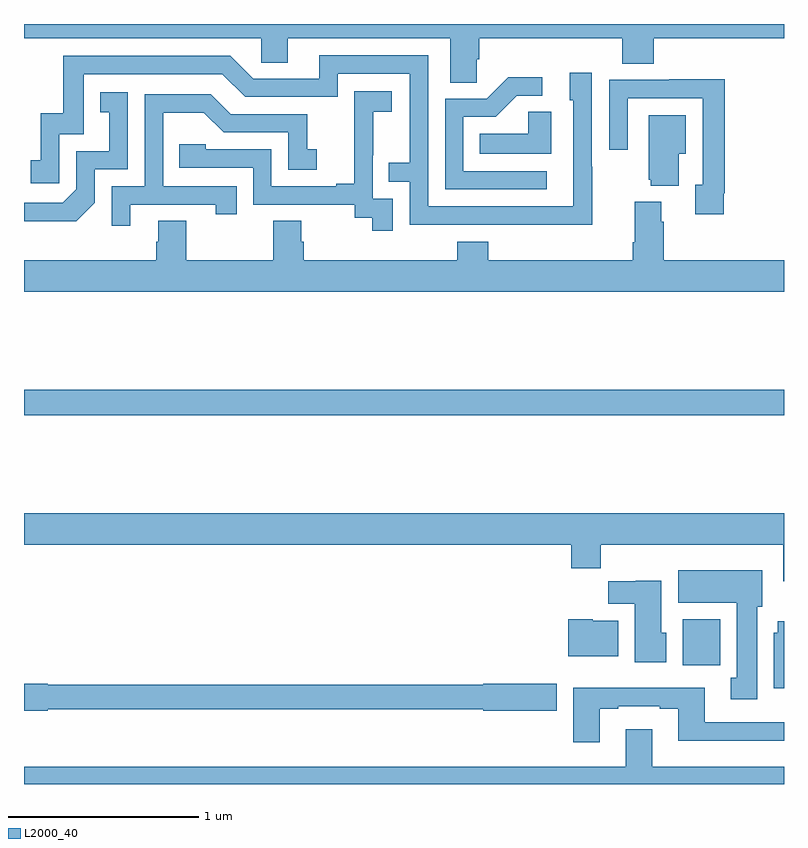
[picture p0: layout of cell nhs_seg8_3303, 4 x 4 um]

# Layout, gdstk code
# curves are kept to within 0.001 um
import gdstk
lib = gdstk.Library(unit=1e-6, precision=1e-09)
def R(c, l, rs):  # rectangles x0, y0, x1, y1
    for r in rs: c.add(gdstk.rectangle(r[:2], r[2:], *l))
def P(c, l, *ps):  # polygons
    for p in ps: c.add(gdstk.Polygon(p, *l))
L2000_40 = (2000, 40)

nhs_seg8_3303 = lib.new_cell('nhs_seg8_3303')
R(nhs_seg8_3303, L2000_40, [(318.467,1122.524,318.664,1122.766), (315,1123.84,319,1123.976)])
P(nhs_seg8_3303, L2000_40, [(317.382,1125.715),(317.396,1125.715),(317.396,1125.824),(318.149,1125.824),(318.149,1125.691),(318.314,1125.691),(318.314,1125.824),(319,1125.824),(319,1125.9),(315,1125.9),(315,1125.824),(316.248,1125.824),(316.248,1125.697),(316.387,1125.697),(316.387,1125.824),(317.243,1125.824),(317.243,1125.592),(317.382,1125.592)],
  [(317.991,1125.149),(317.988,1125.149),(317.988,1125.643),(317.873,1125.643),(317.873,1125.498),(317.892,1125.498),(317.892,1124.94),(317.127,1124.94),(317.127,1125.735),(316.553,1125.735),(316.553,1125.612),(316.206,1125.612),(316.086,1125.732),(315.207,1125.732),(315.207,1125.43),(315.089,1125.43),(315.089,1125.183),(315.036,1125.183),(315.036,1125.063),(315.186,1125.063),(315.186,1125.321),(315.315,1125.321),(315.315,1125.636),(316.044,1125.636),(316.164,1125.516),(316.65,1125.516),(316.65,1125.639),(317.031,1125.639),(317.031,1125.17),(316.921,1125.17),(316.921,1125.069),(317.031,1125.069),(317.031,1124.844),(317.991,1124.843)],
  [(317.752,1125.126),(317.313,1125.126),(317.313,1125.411),(317.482,1125.411),(317.593,1125.522),(317.728,1125.522),(317.728,1125.62),(317.549,1125.62),(317.436,1125.507),(317.217,1125.507),(317.217,1125.03),(317.752,1125.03)],
  [(318.682,1125.01),(318.689,1125.01),(318.689,1125.608),(318.397,1125.608),(318.397,1125.606),(318.081,1125.606),(318.081,1125.237),(318.177,1125.237),(318.177,1125.51),(318.573,1125.51),(318.573,1125.054),(318.533,1125.054),(318.533,1124.898),(318.682,1124.898)],
  [(316.941,1124.979),(316.836,1124.979),(316.836,1125.209),(316.838,1125.209),(316.838,1125.437),(316.936,1125.437),(316.936,1125.547),(316.738,1125.547),(316.738,1125.341),(316.739,1125.341),(316.739,1125.058),(316.643,1125.058),(316.643,1125.045),(316.302,1125.045),(316.302,1125.24),(315.957,1125.24),(315.957,1125.267),(315.817,1125.267),(315.817,1125.144),(316.206,1125.144),(316.206,1124.949),(316.74,1124.949),(316.74,1124.881),(316.833,1124.881),(316.833,1124.811),(316.941,1124.811)],
  [(315.372,1124.958),(315.372,1125.135),(315.546,1125.135),(315.546,1125.541),(315.4,1125.541),(315.4,1125.435),(315.449,1125.435),(315.449,1125.231),(315.276,1125.231),(315.276,1125.03),(315.204,1124.958),(315,1124.958),(315,1124.861),(315.274,1124.861)],
  [(315.559,1124.949),(316.01,1124.949),(316.01,1124.898),(316.121,1124.898),(316.121,1125.045),(315.732,1125.045),(315.732,1125.434),(315.946,1125.434),(316.05,1125.33),(316.392,1125.33),(316.392,1125.132),(316.54,1125.132),(316.54,1125.241),(316.491,1125.241),(316.491,1125.426),(316.087,1125.426),(315.982,1125.531),(315.636,1125.531),(315.636,1125.045),(315.462,1125.045),(315.462,1124.838),(315.559,1124.838)],
  [(317.776,1125.437),(317.655,1125.437),(317.655,1125.322),(317.398,1125.322),(317.398,1125.218),(317.776,1125.218)],
  [(318.445,1125.218),(318.484,1125.218),(318.484,1125.421),(318.287,1125.421),(318.287,1125.081),(318.299,1125.081),(318.299,1125.05),(318.445,1125.05)],
  [(318.215,1124.965),(318.215,1124.752),(318.203,1124.752),(318.203,1124.656),(317.444,1124.656),(317.444,1124.755),(317.279,1124.755),(317.279,1124.656),(316.472,1124.656),(316.472,1124.754),(316.459,1124.754),(316.459,1124.864),(316.312,1124.864),(316.312,1124.656),(315.855,1124.656),(315.855,1124.864),(315.707,1124.864),(315.707,1124.754),(315.695,1124.754),(315.695,1124.656),(315,1124.656),(315,1124.492),(319,1124.492),(319,1124.656),(318.368,1124.656),(318.368,1124.858),(318.355,1124.858),(318.355,1124.965)],
  [(319,1123.324),(315,1123.324),(315,1123.16),(317.879,1123.16),(317.879,1123.036),(318.035,1123.036),(318.035,1123.16),(318.995,1123.16),(318.995,1122.966),(319,1122.966)],
  [(318.859,1122.834),(318.886,1122.834),(318.886,1123.024),(318.443,1123.024),(318.443,1122.854),(318.752,1122.854),(318.752,1122.458),(318.719,1122.458),(318.719,1122.345),(318.859,1122.345)],
  [(318.379,1122.696),(318.355,1122.696),(318.355,1122.97),(318.219,1122.97),(318.219,1122.966),(318.076,1122.966),(318.076,1122.848),(318.215,1122.848),(318.215,1122.542),(318.379,1122.542)],
  [(318.127,1122.76),(317.994,1122.76),(317.994,1122.766),(317.864,1122.766),(317.864,1122.572),(318.127,1122.572)],
  [(319,1122.757),(318.968,1122.757),(318.968,1122.696),(318.947,1122.696),(318.947,1122.404),(319,1122.404)],
  [(315.126,1122.294),(317.418,1122.294),(317.418,1122.286),(317.803,1122.286),(317.803,1122.428),(317.418,1122.428),(317.418,1122.422),(315.126,1122.422),(315.126,1122.428),(315,1122.428),(315,1122.286),(315.126,1122.286)],
  [(318.031,1122.297),(318.127,1122.297),(318.127,1122.309),(318.347,1122.309),(318.347,1122.297),(318.443,1122.297),(318.443,1122.128),(319,1122.128),(319,1122.225),(318.583,1122.225),(318.583,1122.406),(317.891,1122.406),(317.891,1122.12),(318.031,1122.12)],
  [(319,1121.992),(318.307,1121.992),(318.307,1122.187),(318.167,1122.187),(318.167,1121.992),(315,1121.992),(315,1121.9),(319,1121.9)])

lib.write_gds('nhs_seg8_3303.gds')
